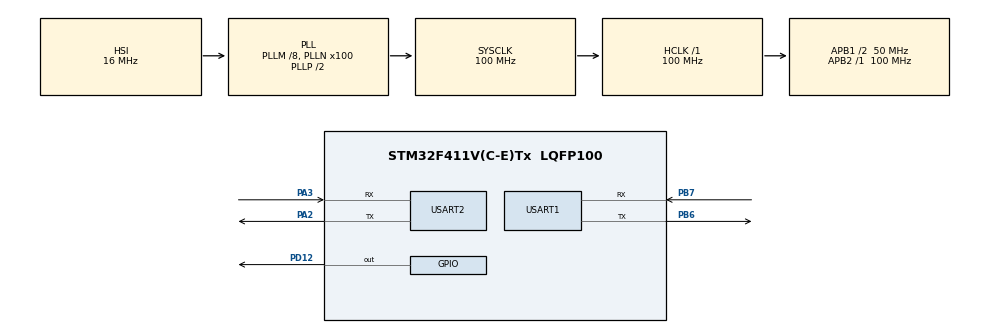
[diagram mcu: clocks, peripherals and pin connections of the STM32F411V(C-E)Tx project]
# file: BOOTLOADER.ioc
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Mcu.Family=STM32F4
Mcu.Name=STM32F411V(C-E)Tx
Mcu.Package=LQFP100
NVIC.PriorityGroup=NVIC_PRIORITYGROUP_4
NVIC.USART1_IRQn=true\:0\:0\:false\:false\:true\:true\:true\:true
PA13.Mode=Serial_Wire
PA13.Signal=SYS_JTMS-SWDIO
PA14.Mode=Serial_Wire
PA14.Signal=SYS_JTCK-SWCLK
PA2.Mode=Asynchronous
PA2.Signal=USART2_TX
PA3.Mode=Asynchronous
PA3.Signal=USART2_RX
PB6.Mode=Asynchronous
PB6.Signal=USART1_TX
PB7.Mode=Asynchronous
PB7.Signal=USART1_RX
PD12.Signal=GPIO_Output
PH0\ -\ OSC_IN.Mode=HSE-External-Oscillator
PH0\ -\ OSC_IN.Signal=RCC_OSC_IN
PH1\ -\ OSC_OUT.Mode=HSE-External-Oscillator
PH1\ -\ OSC_OUT.Signal=RCC_OSC_OUT
ProjectManager.HeapSize=0x200
ProjectManager.StackSize=0x400
ProjectManager.TargetToolchain=CMake
RCC.48MHZClocksFreq_Value=50000000
RCC.AHBFreq_Value=100000000
RCC.APB1CLKDivider=RCC_HCLK_DIV2
RCC.APB1Freq_Value=50000000
RCC.APB1TimFreq_Value=100000000
RCC.APB2Freq_Value=100000000
RCC.APB2TimFreq_Value=100000000
RCC.CortexFreq_Value=100000000
RCC.HCLKFreq_Value=100000000
RCC.HSE_VALUE=8000000
RCC.HSI_VALUE=16000000
RCC.LSE_VALUE=32768
RCC.PLLM=8
RCC.PLLN=100
RCC.SYSCLKFreq_VALUE=100000000
RCC.SYSCLKSource=RCC_SYSCLKSOURCE_PLLCLK
RCC.VCOOutputFreq_Value=200000000
USART1.VirtualMode=VM_ASYNC
USART2.VirtualMode=VM_ASYNC
VP_CRC_VS_CRC.Mode=CRC_Activate
board=custom

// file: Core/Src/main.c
/* USER CODE BEGIN Header */
/**
  ******************************************************************************
  * @file           : main.c
  * @brief          : Main program body
  ******************************************************************************
  * @attention
  *
  * Copyright (c) 2026 STMicroelectronics.
  * All rights reserved.
  *
  * This software is licensed under terms that can be found in the LICENSE file
  * in the root directory of this software component.
  * If no LICENSE file comes with this software, it is provided AS-IS.
  *
  ******************************************************************************
  */
/* USER CODE END Header */
#include "main.h"

/* USER CODE BEGIN Includes */
#include "bootloader.h"
#include <stdio.h>
/* USER CODE END Includes */

CRC_HandleTypeDef hcrc;

UART_HandleTypeDef huart1;
UART_HandleTypeDef huart2;

void SystemClock_Config(void);
static void MX_GPIO_Init(void);
static void MX_CRC_Init(void);
static void MX_USART1_UART_Init(void);
static void MX_USART2_UART_Init(void);

/* USER CODE BEGIN 0 */
#ifdef __GNUC__
#define PUTCHAR_PROTOTYPE int __io_putchar(int ch)
#else
#define PUTCHAR_PROTOTYPE int fputc(int ch, FILE *f)
#endif /* __GNUC__ */

PUTCHAR_PROTOTYPE
{
  /* Redirect printf to ST-Link's SWO Pin (ITM) */
  ITM_SendChar(ch);
  /* Ghi trực tiếp vào thanh ghi USART2 để tránh xung đột trạng thái HAL_BUSY */
  while (!(USART2->SR & USART_SR_TXE));
  USART2->DR = (ch & 0xFF);
  return ch;
}
/* USER CODE END 0 */

int main(void)
{

  /* MCU Configuration--------------------------------------------------------*/

  /* Reset of all peripherals, Initializes the Flash interface and the Systick. */
  HAL_Init();

  /* Configure the system clock */
  SystemClock_Config();

  /* Initialize all configured peripherals */
  MX_GPIO_Init();
  MX_CRC_Init();
  MX_USART1_UART_Init();
  MX_USART2_UART_Init();

  /* USER CODE BEGIN 2 */
  printf("\r\n====================================\r\n");
  printf("   STM32F411 BOOTLOADER STARTED     \r\n");
  printf("====================================\r\n");

  extern uint32_t fota_expected_size;
  bool app_valid = Bootloader_VerifyApplication();
  bool enter_fota = false;

  if (app_valid) {
      printf("[INFO] AppHeader VALID. Starting 10s FOTA countdown...\r\n");

      // Khởi động ngắt nhận dữ liệu UART FOTA
      FOTA_Init();

      uint32_t start_tick = HAL_GetTick();
      uint32_t last_blink = start_tick;

      // Đợi 10 giây (10000 ms)
      while (HAL_GetTick() - start_tick < 10000) {
          // Nháy LED nhanh (100ms) báo hiệu đang ở chế độ đếm ngược chờ FOTA
          if (HAL_GetTick() - last_blink >= 100) {
              HAL_GPIO_TogglePin(GPIOD, GPIO_PIN_12);
              last_blink = HAL_GetTick();
          }

          // Xử lý gói tin FOTA từ Ring Buffer
          FOTA_Process();

          // Nếu nhận được gói lệnh khởi động nạp FOTA (fota_expected_size > 0)
          if (fota_expected_size > 0) {
              printf("[INFO] Phat hien lenh FOTA! Chuyen sang che do nap...\r\n");
              enter_fota = true;
              break;
          }
      }

      // Tắt LED sau khi đếm ngược xong
      HAL_GPIO_WritePin(GPIOD, GPIO_PIN_12, GPIO_PIN_RESET);

      if (!enter_fota) {
          printf("[INFO] Khong co yeu cau FOTA. Jumping to Application...\r\n");
          Bootloader_JumpToApp();
      }
  } else {
      printf("[WARN] App INVALID hoac trong. Vào thang che do FOTA...\r\n");
      FOTA_Init();
      enter_fota = true;
  }
  /* USER CODE END 2 */

  /* Infinite loop */
  /* USER CODE BEGIN WHILE */
  while (1)
  {
      if (enter_fota) {
          // Nháy LED chậm (500ms) để báo hiệu đang đợi/nhận FOTA
          static uint32_t last_fota_blink = 0;
          if (HAL_GetTick() - last_fota_blink >= 500) {
              HAL_GPIO_TogglePin(GPIOD, GPIO_PIN_12);
              last_fota_blink = HAL_GetTick();
          }
          FOTA_Process();
      } else {
          // Nếu Jump thất bại, nháy LED rất chậm cảnh báo lỗi
          HAL_GPIO_TogglePin(GPIOD, GPIO_PIN_12);
          HAL_Delay(1000);
      }
    /* USER CODE END WHILE */

  }
}

void SystemClock_Config(void)
{
  RCC_OscInitTypeDef RCC_OscInitStruct = {0};
  RCC_ClkInitTypeDef RCC_ClkInitStruct = {0};

  /** Configure the main internal regulator output voltage
  */
  __HAL_RCC_PWR_CLK_ENABLE();
  __HAL_PWR_VOLTAGESCALING_CONFIG(PWR_REGULATOR_VOLTAGE_SCALE1);

  /** Initializes the RCC Oscillators according to the specified parameters
  * in the RCC_OscInitTypeDef structure.
  */
  RCC_OscInitStruct.OscillatorType = RCC_OSCILLATORTYPE_HSI;
  RCC_OscInitStruct.HSIState = RCC_HSI_ON;
  RCC_OscInitStruct.HSICalibrationValue = RCC_HSICALIBRATION_DEFAULT;
  RCC_OscInitStruct.PLL.PLLState = RCC_PLL_ON;
  RCC_OscInitStruct.PLL.PLLSource = RCC_PLLSOURCE_HSI;
  RCC_OscInitStruct.PLL.PLLM = 8;
  RCC_OscInitStruct.PLL.PLLN = 100;
  RCC_OscInitStruct.PLL.PLLP = RCC_PLLP_DIV2;
  RCC_OscInitStruct.PLL.PLLQ = 4;
  if (HAL_RCC_OscConfig(&RCC_OscInitStruct) != HAL_OK)
  {
    Error_Handler();
  }

  /** Initializes the CPU, AHB and APB buses clocks
  */
  RCC_ClkInitStruct.ClockType = RCC_CLOCKTYPE_HCLK|RCC_CLOCKTYPE_SYSCLK
                              |RCC_CLOCKTYPE_PCLK1|RCC_CLOCKTYPE_PCLK2;
  RCC_ClkInitStruct.SYSCLKSource = RCC_SYSCLKSOURCE_PLLCLK;
  RCC_ClkInitStruct.AHBCLKDivider = RCC_SYSCLK_DIV1;
  RCC_ClkInitStruct.APB1CLKDivider = RCC_HCLK_DIV2;
  RCC_ClkInitStruct.APB2CLKDivider = RCC_HCLK_DIV1;

  if (HAL_RCC_ClockConfig(&RCC_ClkInitStruct, FLASH_LATENCY_3) != HAL_OK)
  {
    Error_Handler();
  }
}

static void MX_CRC_Init(void)
{

  hcrc.Instance = CRC;
  if (HAL_CRC_Init(&hcrc) != HAL_OK)
  {
    Error_Handler();
  }

}

static void MX_USART1_UART_Init(void)
{

  huart1.Instance = USART1;
  huart1.Init.BaudRate = 115200;
  huart1.Init.WordLength = UART_WORDLENGTH_8B;
  huart1.Init.StopBits = UART_STOPBITS_1;
  huart1.Init.Parity = UART_PARITY_NONE;
  huart1.Init.Mode = UART_MODE_TX_RX;
  huart1.Init.HwFlowCtl = UART_HWCONTROL_NONE;
  huart1.Init.OverSampling = UART_OVERSAMPLING_16;
  if (HAL_UART_Init(&huart1) != HAL_OK)
  {
    Error_Handler();
  }

}

static void MX_USART2_UART_Init(void)
{

  huart2.Instance = USART2;
  huart2.Init.BaudRate = 115200;
  huart2.Init.WordLength = UART_WORDLENGTH_8B;
  huart2.Init.StopBits = UART_STOPBITS_1;
  huart2.Init.Parity = UART_PARITY_NONE;
  huart2.Init.Mode = UART_MODE_TX_RX;
  huart2.Init.HwFlowCtl = UART_HWCONTROL_NONE;
  huart2.Init.OverSampling = UART_OVERSAMPLING_16;
  if (HAL_UART_Init(&huart2) != HAL_OK)
  {
    Error_Handler();
  }

}

static void MX_GPIO_Init(void)
{
  GPIO_InitTypeDef GPIO_InitStruct = {0};

  /* GPIO Ports Clock Enable */
  __HAL_RCC_GPIOH_CLK_ENABLE();
  __HAL_RCC_GPIOA_CLK_ENABLE();
  __HAL_RCC_GPIOD_CLK_ENABLE();
  __HAL_RCC_GPIOB_CLK_ENABLE();

  /*Configure GPIO pin Output Level */
  HAL_GPIO_WritePin(GPIOD, GPIO_PIN_12, GPIO_PIN_RESET);

  /*Configure GPIO pin : PD12 */
  GPIO_InitStruct.Pin = GPIO_PIN_12;
  GPIO_InitStruct.Mode = GPIO_MODE_OUTPUT_PP;
  GPIO_InitStruct.Pull = GPIO_NOPULL;
  GPIO_InitStruct.Speed = GPIO_SPEED_FREQ_LOW;
  HAL_GPIO_Init(GPIOD, &GPIO_InitStruct);

}

void Error_Handler(void)
{
  __disable_irq();
  while (1)
  {
  }
}
